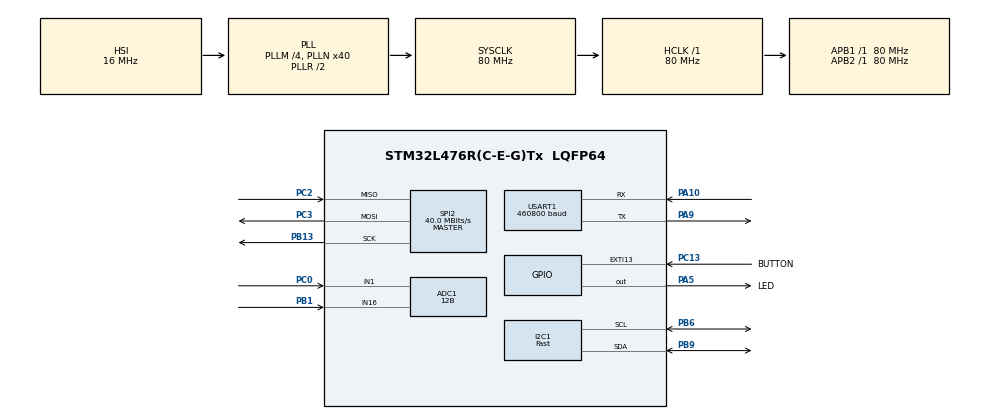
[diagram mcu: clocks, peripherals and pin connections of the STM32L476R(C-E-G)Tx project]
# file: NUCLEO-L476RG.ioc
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ADC1.AutoInjectedConv=DISABLE
ADC1.Channel-25\#ChannelRegularConversion=ADC_CHANNEL_16
ADC1.ClockPrescaler=ADC_CLOCK_ASYNC_DIV1
ADC1.ContinuousConvMode=ENABLE
ADC1.DMAContinuousRequests=DISABLE
ADC1.DataAlign=ADC_DATAALIGN_RIGHT
ADC1.DiscontinuousConvMode=DISABLE
ADC1.EOCSelection=ADC_EOC_SINGLE_CONV
ADC1.EnableAnalogWatchDog1=false
ADC1.EnableAnalogWatchDog2=false
ADC1.EnableAnalogWatchDog3=false
ADC1.EnableInjectedConversion=ENABLE
ADC1.EnableInjectedOversampling=DISABLE
ADC1.EnableRegularConversion=ENABLE
ADC1.ExternalTrigConv=ADC_SOFTWARE_START
ADC1.ExternalTrigConvEdge=ADC_EXTERNALTRIGCONVEDGE_NONE
ADC1.ExternalTrigInjecConv=ADC_INJECTED_SOFTWARE_START
ADC1.ExternalTrigInjecConvEdge=ADC_EXTERNALTRIGINJECCONV_EDGE_NONE
ADC1.InjNumberOfConversion=2
ADC1.InjectedChannel-26\#ChannelInjectedConversion=ADC_CHANNEL_TEMPSENSOR
ADC1.InjectedChannel-27\#ChannelInjectedConversion=ADC_CHANNEL_1
ADC1.InjectedConvMode=None
ADC1.InjectedDiscontinuousConvMode=DISABLE
ADC1.InjectedOffsetNumber-26\#ChannelInjectedConversion=ADC_OFFSET_NONE
ADC1.InjectedOffsetNumber-27\#ChannelInjectedConversion=ADC_OFFSET_NONE
ADC1.InjectedQueue=DISABLE
ADC1.InjectedRank-26\#ChannelInjectedConversion=1
ADC1.InjectedRank-27\#ChannelInjectedConversion=2
ADC1.InjectedSamplingTime-26\#ChannelInjectedConversion=ADC_SAMPLETIME_247CYCLES_5
ADC1.InjectedSamplingTime-27\#ChannelInjectedConversion=ADC_SAMPLETIME_247CYCLES_5
ADC1.InjectedSingleDiff-26\#ChannelInjectedConversion=ADC_SINGLE_ENDED
ADC1.InjectedSingleDiff-27\#ChannelInjectedConversion=ADC_SINGLE_ENDED
ADC1.LowPowerAutoWait=DISABLE
ADC1.NbrOfConversion=1
ADC1.NbrOfConversionFlag=1
ADC1.OffsetNumber-25\#ChannelRegularConversion=ADC_OFFSET_NONE
ADC1.Overrun=ADC_OVR_DATA_OVERWRITTEN
ADC1.OversamplingMode=DISABLE
ADC1.Rank-25\#ChannelRegularConversion=1
ADC1.Resolution=ADC_RESOLUTION_12B
ADC1.SamplingTime-25\#ChannelRegularConversion=ADC_SAMPLETIME_2CYCLES_5
ADC1.ScanConvMode=ADC_SCAN_ENABLE
ADC1.SingleDiff-25\#ChannelRegularConversion=ADC_SINGLE_ENDED
ADC1.master=1
Dma.Request0=USART1_TX
Dma.USART1_TX.0.Direction=DMA_MEMORY_TO_PERIPH
Dma.USART1_TX.0.Instance=DMA1_Channel4
Dma.USART1_TX.0.MemDataAlignment=DMA_MDATAALIGN_BYTE
Dma.USART1_TX.0.MemInc=DMA_MINC_ENABLE
Dma.USART1_TX.0.Mode=DMA_NORMAL
Dma.USART1_TX.0.PeriphDataAlignment=DMA_PDATAALIGN_BYTE
Dma.USART1_TX.0.PeriphInc=DMA_PINC_DISABLE
Dma.USART1_TX.0.Priority=DMA_PRIORITY_LOW
FREERTOS.INCLUDE_vTaskDelayUntil=1
FREERTOS.INCLUDE_xTaskAbortDelay=1
FREERTOS.INCLUDE_xTaskGetCurrentTaskHandle=1
FREERTOS.INCLUDE_xTaskGetHandle=1
FREERTOS.MEMORY_ALLOCATION=2
FREERTOS.Queues01=printQueue,16,void*,NULL,Static,printfQueueBuffer,printfQueueControlBlock
FREERTOS.Tasks01=defaultTask,0,128,StartDefaultTask,Default,NULL,Static,defaultTaskBuffer,defaultTaskControlBlock;cmdTask,3,128,StartCMDTask,Default,NULL,Static,cmdTaskBuffer,cmdTaskControlBlock;mpuTask,2,256,StartMPUTask,Default,NULL,Static,mpuTaskBuffer,mpuTaskControlBlock;adcTask,2,128,StartADCTask,Default,NULL,Static,adcTaskBuffer,adcTaskControlBlock;printfGateKeeperTask,-1,128,StartPrintfGateKeeperTask,Default,NULL,Static,printfGateKeeperTaskBuffer,printfGateKeeperTaskControlBlock
FREERTOS.configGENERATE_RUN_TIME_STATS=0
FREERTOS.configMAX_TASK_NAME_LEN=64
FREERTOS.configTOTAL_HEAP_SIZE=0x8000
FREERTOS.configUSE_ALTERNATIVE_API=0
FREERTOS.configUSE_IDLE_HOOK=1
FREERTOS.configUSE_MUTEXES=0
FREERTOS.configUSE_TICK_HOOK=1
I2C1.I2C_Fall_Time=60
I2C1.I2C_Rise_Time=60
I2C1.I2C_Speed_Mode=I2C_Fast
I2C1.OwnAddress=0
I2C1.OwnAddress2Masks=I2C_OA2_NOMASK
I2C1.Speed=400
I2C1.Timing=0x00C02C84
IWDG.Prescaler=IWDG_PRESCALER_64
Mcu.Family=STM32L4
Mcu.Name=STM32L476R(C-E-G)Tx
Mcu.Package=LQFP64
NVIC.DMA1_Channel4_IRQn=true\:10\:0\:true\:false\:true\:true
NVIC.EXTI15_10_IRQn=true\:14\:0\:true\:false\:true\:true
NVIC.PriorityGroup=NVIC_PRIORITYGROUP_4
NVIC.TIM6_DAC_IRQn=true\:0\:0\:false\:false\:true\:false
NVIC.TimeBase=TIM6_DAC_IRQn
NVIC.TimeBaseIP=TIM6
NVIC.USART1_IRQn=true\:15\:0\:true\:false\:true\:true
PA10.Mode=Asynchronous
PA10.Signal=USART1_RX
PA13.Mode=Serial_Wire
PA13.Signal=SYS_JTMS-SWDIO
PA14.Mode=Serial_Wire
PA14.Signal=SYS_JTCK-SWCLK
PA5.GPIO_Label=LED
PA5.Signal=GPIO_Output
PA9.Mode=Asynchronous
PA9.Signal=USART1_TX
PB1.Signal=ADCx_IN16
PB13.Mode=Full_Duplex_Master
PB13.Signal=SPI2_SCK
PB6.Mode=I2C
PB6.Signal=I2C1_SCL
PB9.Mode=I2C
PB9.Signal=I2C1_SDA
PC0.Signal=ADCx_IN1
PC13.GPIO_Label=BUTTON
PC13.GPIO_PuPd=GPIO_PULLUP
PC13.Signal=GPXTI13
PC14/OSC32_IN.Mode=LSE-External-Oscillator
PC14/OSC32_IN.Signal=RCC_OSC32_IN
PC15/OSC32_OUT.Mode=LSE-External-Oscillator
PC15/OSC32_OUT.Signal=RCC_OSC32_OUT
PC2.Mode=Full_Duplex_Master
PC2.Signal=SPI2_MISO
PC3.Mode=Full_Duplex_Master
PC3.Signal=SPI2_MOSI
ProjectManager.HeapSize=0x200
ProjectManager.StackSize=0x1000
ProjectManager.TargetToolchain=MDK-ARM V5
RCC.ADCFreq_Value=80000000
RCC.AHBCLKDivider=RCC_SYSCLK_DIV1
RCC.AHBFreq_Value=80000000
RCC.APB1CLKDivider=RCC_HCLK_DIV1
RCC.APB1Freq_Value=80000000
RCC.APB1TimFreq_Value=80000000
RCC.APB2CLKDivider=RCC_HCLK_DIV1
RCC.APB2Freq_Value=80000000
RCC.APB2TimFreq_Value=80000000
RCC.ClockTypeHCLK=RCC_CLOCKTYPE_HCLK
RCC.ClockTypePCLK1=RCC_CLOCKTYPE_PCLK1
RCC.ClockTypePCLK2=RCC_CLOCKTYPE_PCLK2
RCC.ClockTypeSysClk=RCC_CLOCKTYPE_SYSCLK
RCC.CortexFreq_Value=80000000
RCC.Cortex_Div=SYSTICK_CLKSOURCE_HCLK
RCC.DATA_CACHE_ENABLE=1
RCC.EnableCSSLSE=false
RCC.EnbaleCSS=false
RCC.FLatency=FLASH_LATENCY_4
RCC.HCLKFreq_Value=80000000
RCC.HSE_VALUE=32000000
RCC.HSI_VALUE=16000000
RCC.INSTRUCTION_CACHE_ENABLE=1
RCC.LSE_Drive_Capability=RCC_LSEDRIVE_LOW
RCC.MSIAutoCalibration=DISABLED
RCC.MSI_VALUE=4000000
RCC.PLLM=4
RCC.PLLN=40
RCC.PLLP=RCC_PLLP_DIV7
RCC.PLLQ=RCC_PLLQ_DIV2
RCC.PLLR=RCC_PLLR_DIV2
RCC.PLLSAI1N=40
RCC.PLLSAI1P=RCC_PLLP_DIV7
RCC.PLLSAI1Q=RCC_PLLQ_DIV2
RCC.PLLSAI1R=RCC_PLLR_DIV2
RCC.PLLSAI2P=RCC_PLLP_DIV7
RCC.PLLSAI2R=RCC_PLLR_DIV2
RCC.PLLSourceVirtual=RCC_PLLSOURCE_HSI
RCC.PREFETCH_ENABLE=1
RCC.PWR_Regulator_Voltage_Scale=PWR_REGULATOR_VOLTAGE_SCALE1
RCC.RCC_MCODiv=RCC_MCODIV_1
RCC.RTCClockSelection=RCC_RTCCLKSOURCE_LSE
RCC.SYSCLKFreq_VALUE=80000000
RCC.SYSCLKSource=RCC_SYSCLKSOURCE_PLLCLK
RCC.USART1CLockSelection=RCC_USART1CLKSOURCE_PCLK2
RCC.USBFreq_Value=80000000
RCC.VCOOutputFreq_Value=160000000
RCC.VDD_VALUE=3.3
RTC.OutPut=RTC_OUTPUT_DISABLE
RTC.OutPutPolarity=RTC_OUTPUT_POLARITY_HIGH
RTC.OutPutType=RTC_OUTPUT_TYPE_OPENDRAIN
SH.ADCx_IN1.0=ADC1_IN1,IN1-Single-Ended
SH.ADCx_IN16.0=ADC1_IN16,IN16-Single-Ended
SPI2.BaudRatePrescaler=SPI_BAUDRATEPRESCALER_2
SPI2.CRCLength=SPI_CRC_LENGTH_DATASIZE
SPI2.CRCPolynomial=7
SPI2.CalculateBaudRate=40.0 MBits/s
SPI2.Direction=SPI_DIRECTION_2LINES
SPI2.Mode=SPI_MODE_MASTER
SPI2.VirtualType=VM_MASTER
SYS.instance=TIM6
USART1.BaudRate=460800
USART1.HwFlowCtl-Asynchronous=UART_HWCONTROL_NONE
USART1.VirtualMode-Asynchronous=VM_ASYNC
USART1.WordLength=WORDLENGTH_8B
VP_ADC1_TempSens_Input.Mode=IN-TempSens
VP_ADC1_Vbat_Input.Mode=IN-Vbat
VP_ADC1_Vref_Input.Mode=IN-Vrefint
VP_FREERTOS_VS_ENABLE.Mode=Enabled
VP_IWDG_VS_IWDG.Mode=IWDG_Activate
VP_RTC_VS_RTC_Activate.Mode=RTC_Enabled
VP_SYS_VS_tim6.Mode=TIM6
board=NUCLEO-L476RG

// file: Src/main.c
/**
  ******************************************************************************
  * File Name          : main.c
  * Description        : Main program body
  ******************************************************************************
  *
  * Copyright (c) 2017 STMicroelectronics International N.V.
  * All rights reserved.
  *
  * Redistribution and use in source and binary forms, with or without
  * modification, are permitted, provided that the following conditions are met:
  *
  * 1. Redistribution of source code must retain the above copyright notice,
  *    this list of conditions and the following disclaimer.
  * 2. Redistributions in binary form must reproduce the above copyright notice,
  *    this list of conditions and the following disclaimer in the documentation
  *    and/or other materials provided with the distribution.
  * 3. Neither the name of STMicroelectronics nor the names of other
  *    contributors to this software may be used to endorse or promote products
  *    derived from this software without specific written permission.
  * 4. This software, including modifications and/or derivative works of this
  *    software, must execute solely and exclusively on microcontroller or
  *    microprocessor devices manufactured by or for STMicroelectronics.
  * 5. Redistribution and use of this software other than as permitted under
  *    this license is void and will automatically terminate your rights under
  *    this license.
  *
  * THIS SOFTWARE IS PROVIDED BY STMICROELECTRONICS AND CONTRIBUTORS "AS IS"
  * AND ANY EXPRESS, IMPLIED OR STATUTORY WARRANTIES, INCLUDING, BUT NOT
  * LIMITED TO, THE IMPLIED WARRANTIES OF MERCHANTABILITY, FITNESS FOR A
  * PARTICULAR PURPOSE AND NON-INFRINGEMENT OF THIRD PARTY INTELLECTUAL PROPERTY
  * RIGHTS ARE DISCLAIMED TO THE FULLEST EXTENT PERMITTED BY LAW. IN NO EVENT
  * SHALL STMICROELECTRONICS OR CONTRIBUTORS BE LIABLE FOR ANY DIRECT, INDIRECT,
  * INCIDENTAL, SPECIAL, EXEMPLARY, OR CONSEQUENTIAL DAMAGES (INCLUDING, BUT NOT
  * LIMITED TO, PROCUREMENT OF SUBSTITUTE GOODS OR SERVICES; LOSS OF USE, DATA,
  * OR PROFITS; OR BUSINESS INTERRUPTION) HOWEVER CAUSED AND ON ANY THEORY OF
  * LIABILITY, WHETHER IN CONTRACT, STRICT LIABILITY, OR TORT (INCLUDING
  * NEGLIGENCE OR OTHERWISE) ARISING IN ANY WAY OUT OF THE USE OF THIS SOFTWARE,
  * EVEN IF ADVISED OF THE POSSIBILITY OF SUCH DAMAGE.
  *
  ******************************************************************************
  */
#include "main.h"
#include "stm32l4xx_hal.h"
#include "cmsis_os.h"
#include "adc.h"
#include "dma.h"
#include "i2c.h"
#include "iwdg.h"
#include "rtc.h"
#include "spi.h"
#include "usart.h"
#include "gpio.h"

/* USER CODE BEGIN PV */
/* Private variables ---------------------------------------------------------*/
SystemMode_TypeDef SystemMode = Output;
/* USER CODE END PV */

void SystemClock_Config(void);
void Error_Handler(void);
void MX_FREERTOS_Init(void);

/* USER CODE BEGIN PFP */
/* Private function prototypes -----------------------------------------------*/

/* USER CODE END PFP */

int main(void)
{

  /* MCU Configuration----------------------------------------------------------*/

  /* Reset of all peripherals, Initializes the Flash interface and the Systick. */
  HAL_Init();

  /* Configure the system clock */
  SystemClock_Config();

  /* Initialize all configured peripherals */
  MX_GPIO_Init();
  MX_DMA_Init();
  MX_ADC1_Init();
  MX_I2C1_Init();
  MX_IWDG_Init();
  MX_RTC_Init();
  MX_SPI2_Init();
  MX_USART1_UART_Init();

  /* USER CODE BEGIN 2 */
  __HAL_UART_DISABLE_IT(&huart1, UART_IT_RXNE);
  printf("\r\n\r\n");
  /* USER CODE END 2 */

  /* Call init function for freertos objects (in freertos.c) */
  MX_FREERTOS_Init();

  /* Start scheduler */
  osKernelStart();

  /* We should never get here as control is now taken by the scheduler */

  /* Infinite loop */
  while (1)
  {

  }

}

/** System Clock Configuration
*/
void SystemClock_Config(void)
{

  RCC_OscInitTypeDef RCC_OscInitStruct;
  RCC_ClkInitTypeDef RCC_ClkInitStruct;
  RCC_PeriphCLKInitTypeDef PeriphClkInit;

    /**Initializes the CPU, AHB and APB busses clocks
    */
  RCC_OscInitStruct.OscillatorType = RCC_OSCILLATORTYPE_HSI|RCC_OSCILLATORTYPE_LSI
                              |RCC_OSCILLATORTYPE_LSE;
  RCC_OscInitStruct.LSEState = RCC_LSE_ON;
  RCC_OscInitStruct.HSIState = RCC_HSI_ON;
  RCC_OscInitStruct.HSICalibrationValue = 16;
  RCC_OscInitStruct.LSIState = RCC_LSI_ON;
  RCC_OscInitStruct.PLL.PLLState = RCC_PLL_ON;
  RCC_OscInitStruct.PLL.PLLSource = RCC_PLLSOURCE_HSI;
  RCC_OscInitStruct.PLL.PLLM = 4;
  RCC_OscInitStruct.PLL.PLLN = 40;
  RCC_OscInitStruct.PLL.PLLP = RCC_PLLP_DIV7;
  RCC_OscInitStruct.PLL.PLLQ = RCC_PLLQ_DIV2;
  RCC_OscInitStruct.PLL.PLLR = RCC_PLLR_DIV2;
  if (HAL_RCC_OscConfig(&RCC_OscInitStruct) != HAL_OK)
  {
    Error_Handler();
  }

    /**Initializes the CPU, AHB and APB busses clocks
    */
  RCC_ClkInitStruct.ClockType = RCC_CLOCKTYPE_HCLK|RCC_CLOCKTYPE_SYSCLK
                              |RCC_CLOCKTYPE_PCLK1|RCC_CLOCKTYPE_PCLK2;
  RCC_ClkInitStruct.SYSCLKSource = RCC_SYSCLKSOURCE_PLLCLK;
  RCC_ClkInitStruct.AHBCLKDivider = RCC_SYSCLK_DIV1;
  RCC_ClkInitStruct.APB1CLKDivider = RCC_HCLK_DIV1;
  RCC_ClkInitStruct.APB2CLKDivider = RCC_HCLK_DIV1;

  if (HAL_RCC_ClockConfig(&RCC_ClkInitStruct, FLASH_LATENCY_4) != HAL_OK)
  {
    Error_Handler();
  }

  PeriphClkInit.PeriphClockSelection = RCC_PERIPHCLK_RTC|RCC_PERIPHCLK_USART1
                              |RCC_PERIPHCLK_I2C1|RCC_PERIPHCLK_ADC;
  PeriphClkInit.Usart1ClockSelection = RCC_USART1CLKSOURCE_PCLK2;
  PeriphClkInit.I2c1ClockSelection = RCC_I2C1CLKSOURCE_PCLK1;
  PeriphClkInit.AdcClockSelection = RCC_ADCCLKSOURCE_PLLSAI1;
  PeriphClkInit.RTCClockSelection = RCC_RTCCLKSOURCE_LSE;
  PeriphClkInit.PLLSAI1.PLLSAI1Source = RCC_PLLSOURCE_HSI;
  PeriphClkInit.PLLSAI1.PLLSAI1M = 4;
  PeriphClkInit.PLLSAI1.PLLSAI1N = 40;
  PeriphClkInit.PLLSAI1.PLLSAI1P = RCC_PLLP_DIV7;
  PeriphClkInit.PLLSAI1.PLLSAI1Q = RCC_PLLQ_DIV2;
  PeriphClkInit.PLLSAI1.PLLSAI1R = RCC_PLLR_DIV2;
  PeriphClkInit.PLLSAI1.PLLSAI1ClockOut = RCC_PLLSAI1_ADC1CLK;
  if (HAL_RCCEx_PeriphCLKConfig(&PeriphClkInit) != HAL_OK)
  {
    Error_Handler();
  }

    /**Configure LSE Drive Capability
    */
  __HAL_RCC_LSEDRIVE_CONFIG(RCC_LSEDRIVE_LOW);

    /**Configure the main internal regulator output voltage
    */
  if (HAL_PWREx_ControlVoltageScaling(PWR_REGULATOR_VOLTAGE_SCALE1) != HAL_OK)
  {
    Error_Handler();
  }

    /**Configure the Systick interrupt time
    */
  HAL_SYSTICK_Config(HAL_RCC_GetHCLKFreq()/1000);

    /**Configure the Systick
    */
  HAL_SYSTICK_CLKSourceConfig(SYSTICK_CLKSOURCE_HCLK);

  /* SysTick_IRQn interrupt configuration */
  HAL_NVIC_SetPriority(SysTick_IRQn, 15, 0);
}

void HAL_TIM_PeriodElapsedCallback(TIM_HandleTypeDef *htim)
{
  if (htim->Instance == TIM6) {
    HAL_IncTick();
  }
}

void Error_Handler(void)
{
  while(1)
  {
  }
}

/************************ (C) COPYRIGHT STMicroelectronics *****END OF FILE****/

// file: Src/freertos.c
/**
  ******************************************************************************
  * File Name          : freertos.c
  * Description        : Code for freertos applications
  ******************************************************************************
  *
  * Copyright (c) 2017 STMicroelectronics International N.V.
  * All rights reserved.
  *
  * Redistribution and use in source and binary forms, with or without
  * modification, are permitted, provided that the following conditions are met:
  *
  * 1. Redistribution of source code must retain the above copyright notice,
  *    this list of conditions and the following disclaimer.
  * 2. Redistributions in binary form must reproduce the above copyright notice,
  *    this list of conditions and the following disclaimer in the documentation
  *    and/or other materials provided with the distribution.
  * 3. Neither the name of STMicroelectronics nor the names of other
  *    contributors to this software may be used to endorse or promote products
  *    derived from this software without specific written permission.
  * 4. This software, including modifications and/or derivative works of this
  *    software, must execute solely and exclusively on microcontroller or
  *    microprocessor devices manufactured by or for STMicroelectronics.
  * 5. Redistribution and use of this software other than as permitted under
  *    this license is void and will automatically terminate your rights under
  *    this license.
  *
  * THIS SOFTWARE IS PROVIDED BY STMICROELECTRONICS AND CONTRIBUTORS "AS IS"
  * AND ANY EXPRESS, IMPLIED OR STATUTORY WARRANTIES, INCLUDING, BUT NOT
  * LIMITED TO, THE IMPLIED WARRANTIES OF MERCHANTABILITY, FITNESS FOR A
  * PARTICULAR PURPOSE AND NON-INFRINGEMENT OF THIRD PARTY INTELLECTUAL PROPERTY
  * RIGHTS ARE DISCLAIMED TO THE FULLEST EXTENT PERMITTED BY LAW. IN NO EVENT
  * SHALL STMICROELECTRONICS OR CONTRIBUTORS BE LIABLE FOR ANY DIRECT, INDIRECT,
  * INCIDENTAL, SPECIAL, EXEMPLARY, OR CONSEQUENTIAL DAMAGES (INCLUDING, BUT NOT
  * LIMITED TO, PROCUREMENT OF SUBSTITUTE GOODS OR SERVICES; LOSS OF USE, DATA,
  * OR PROFITS; OR BUSINESS INTERRUPTION) HOWEVER CAUSED AND ON ANY THEORY OF
  * LIABILITY, WHETHER IN CONTRACT, STRICT LIABILITY, OR TORT (INCLUDING
  * NEGLIGENCE OR OTHERWISE) ARISING IN ANY WAY OUT OF THE USE OF THIS SOFTWARE,
  * EVEN IF ADVISED OF THE POSSIBILITY OF SUCH DAMAGE.
  *
  ******************************************************************************
  */

#include "FreeRTOS.h"
#include "task.h"
#include "cmsis_os.h"

/* USER CODE BEGIN Includes */
#include "main.h"
#include "stm32l4xx_hal.h"
#include "user.h"
#include "i2c.h"
#include "mpu9250.h"
#include "adc.h"
#include "usart.h"
#include "cmdline.h"
#include "cpu_utils.h"
#include "iwdg.h"
#include "rtc.h"

#define PRINT(string, ...)                                                          \
  do                                                                                \
  {                                                                                 \
    Packet_TypeDef *packet = (Packet_TypeDef *)osPoolAlloc(packetPoolHandle);       \
    if (packet != NULL)                                                             \
    {                                                                               \
      packet->size = sprintf(packet->pString, ( string ), ##__VA_ARGS__);           \
      if (packet->size <= 0 ||                                                      \
          osMessagePut(printQueueHandle, (uint32_t)packet, osWaitForever) != osOK)  \
      {                                                                             \
        osPoolFree(packetPoolHandle, (void *)packet);                               \
      }                                                                             \
    }                                                                               \
  } while (0)
/* USER CODE END Includes */

osThreadId defaultTaskHandle;
uint32_t defaultTaskBuffer[ 128 ];
osStaticThreadDef_t defaultTaskControlBlock;
osThreadId cmdTaskHandle;
uint32_t cmdTaskBuffer[ 128 ];
osStaticThreadDef_t cmdTaskControlBlock;
osThreadId mpuTaskHandle;
uint32_t mpuTaskBuffer[ 256 ];
osStaticThreadDef_t mpuTaskControlBlock;
osThreadId adcTaskHandle;
uint32_t adcTaskBuffer[ 128 ];
osStaticThreadDef_t adcTaskControlBlock;
osThreadId printfGateKeeperTaskHandle;
uint32_t printfGateKeeperTaskBuffer[ 128 ];
osStaticThreadDef_t printfGateKeeperTaskControlBlock;
osMessageQId printQueueHandle;
uint8_t printfQueueBuffer[ 16 * sizeof( void* ) ];
osStaticMessageQDef_t printfQueueControlBlock;

/* USER CODE BEGIN Variables */
__align(4) uint8_t ucHeap[configTOTAL_HEAP_SIZE] __attribute__((at(0x10000000)));

osPoolId packetPoolHandle;

OutputCtrl_TypeDef Usage_Output;
OutputCtrl_TypeDef Euler_Output;
OutputCtrl_TypeDef MpuTemp_Output;
OutputCtrl_TypeDef ADC_Output;
OutputCtrl_TypeDef Temp_Output;
OutputCtrl_TypeDef Time_Output;
/* USER CODE END Variables */

void StartDefaultTask(void const * argument);
void StartCMDTask(void const * argument);
void StartMPUTask(void const * argument);
void StartADCTask(void const * argument);
void StartPrintfGateKeeperTask(void const * argument);

void MX_FREERTOS_Init(void); /* (MISRA C 2004 rule 8.1) */

/* GetIdleTaskMemory prototype (linked to static allocation support) */
void vApplicationGetIdleTaskMemory( StaticTask_t **ppxIdleTaskTCBBuffer, StackType_t **ppxIdleTaskStackBuffer, uint32_t *pulIdleTaskStackSize );

/* Hook prototypes */
void vApplicationIdleHook(void);
void vApplicationTickHook(void);

/* USER CODE BEGIN 2 */
__weak void vApplicationIdleHook( void )
{
   /* vApplicationIdleHook() will only be called if configUSE_IDLE_HOOK is set
   to 1 in FreeRTOSConfig.h. It will be called on each iteration of the idle
   task. It is essential that code added to this hook function never attempts
   to block in any way (for example, call xQueueReceive() with a block time
   specified, or call vTaskDelay()). If the application makes use of the
   vTaskDelete() API function (as this demo application does) then it is also
   important that vApplicationIdleHook() is permitted to return to its calling
   function, because it is the responsibility of the idle task to clean up
   memory allocated by the kernel to any task that has since been deleted. */
}
/* USER CODE END 2 */

/* USER CODE BEGIN 3 */
__weak void vApplicationTickHook( void )
{
   /* This function will be called by each tick interrupt if
   configUSE_TICK_HOOK is set to 1 in FreeRTOSConfig.h. User code can be
   added here, but the tick hook is called from an interrupt context, so
   code must not attempt to block, and only the interrupt safe FreeRTOS API
   functions can be used (those that end in FromISR()). */
}
/* USER CODE END 3 */

/* USER CODE BEGIN GET_IDLE_TASK_MEMORY */
static StaticTask_t xIdleTaskTCBBuffer;
static StackType_t xIdleStack[configMINIMAL_STACK_SIZE];

void vApplicationGetIdleTaskMemory( StaticTask_t **ppxIdleTaskTCBBuffer, StackType_t **ppxIdleTaskStackBuffer, uint32_t *pulIdleTaskStackSize )
{
  *ppxIdleTaskTCBBuffer = &xIdleTaskTCBBuffer;
  *ppxIdleTaskStackBuffer = &xIdleStack[0];
  *pulIdleTaskStackSize = configMINIMAL_STACK_SIZE;
  /* place for user code */
}
/* USER CODE END GET_IDLE_TASK_MEMORY */

/* Init FreeRTOS */

void MX_FREERTOS_Init(void) {
  /* USER CODE BEGIN Init */
  Usage_Output = Off;
  Euler_Output = Off;
  MpuTemp_Output = Off;
  ADC_Output = Off;
  Temp_Output = Off;
  Time_Output = Off;
  /* USER CODE END Init */

  /* Create the thread(s) */
  /* definition and creation of defaultTask */
  osThreadStaticDef(defaultTask, StartDefaultTask, osPriorityNormal, 0, 128, defaultTaskBuffer, &defaultTaskControlBlock);
  defaultTaskHandle = osThreadCreate(osThread(defaultTask), NULL);

  /* definition and creation of cmdTask */
  osThreadStaticDef(cmdTask, StartCMDTask, osPriorityRealtime, 0, 128, cmdTaskBuffer, &cmdTaskControlBlock);
  cmdTaskHandle = osThreadCreate(osThread(cmdTask), NULL);

  /* definition and creation of mpuTask */
  osThreadStaticDef(mpuTask, StartMPUTask, osPriorityHigh, 0, 256, mpuTaskBuffer, &mpuTaskControlBlock);
  mpuTaskHandle = osThreadCreate(osThread(mpuTask), NULL);

  /* definition and creation of adcTask */
  osThreadStaticDef(adcTask, StartADCTask, osPriorityHigh, 0, 128, adcTaskBuffer, &adcTaskControlBlock);
  adcTaskHandle = osThreadCreate(osThread(adcTask), NULL);

  /* definition and creation of printfGateKeeperTask */
  osThreadStaticDef(printfGateKeeperTask, StartPrintfGateKeeperTask, osPriorityBelowNormal, 0, 128, printfGateKeeperTaskBuffer, &printfGateKeeperTaskControlBlock);
  printfGateKeeperTaskHandle = osThreadCreate(osThread(printfGateKeeperTask), NULL);

  /* Create the queue(s) */
  /* definition and creation of printQueue */
  osMessageQStaticDef(printQueue, 16, void*, printfQueueBuffer, &printfQueueControlBlock);
  printQueueHandle = osMessageCreate(osMessageQ(printQueue), NULL);

  /* USER CODE BEGIN RTOS_QUEUES */
  /* add queues, ... */

  osPoolDef(PacketPool, 16, Packet_TypeDef);
  packetPoolHandle = osPoolCreate(osPool(PacketPool));
  if (packetPoolHandle == NULL)
  {
    Error_Handler();
  }
  /* USER CODE END RTOS_QUEUES */
}

/* StartDefaultTask function */
void StartDefaultTask(void const * argument)
{

  /* USER CODE BEGIN StartDefaultTask */

  while (HAL_RTC_WaitForSynchro(&hrtc) != HAL_OK)
  {

  }

  PRINT("#CMD [%d] System initialization complete ......\r\n", HAL_GetTick());

  /* Infinite loop */
  for(;;)
  {
    HAL_IWDG_Refresh(&hiwdg);
    HAL_GPIO_TogglePin(LED_GPIO_Port, LED_Pin);

    if (SystemMode == Command)
    {
      if (Usage_Output == On)
      {
        PRINT("#CMD [%d] CPU: %d%% Heap: %d Bytes PrintQueue: %d\r\n", HAL_GetTick(),
              osGetCPUUsage(), xPortGetFreeHeapSize(), osMessageAvailableSpace(printQueueHandle));
      }
      else if (Time_Output == On)
      {
        HAL_RTC_GetTime(&hrtc, &RTC_Time, RTC_FORMAT_BIN);
        HAL_RTC_GetDate(&hrtc, &RTC_Date, RTC_FORMAT_BIN);

        PRINT("#CMD %04d-%02d-%02d %02d:%02d:%02d.%03d\r\n",
              2000 + RTC_Date.Year, RTC_Date.Month, RTC_Date.Date, RTC_Time.Hours, RTC_Time.Minutes, RTC_Time.Seconds, RTC_Time.SubSeconds);
      }
    }

    osDelay(500);
  }
  /* USER CODE END StartDefaultTask */
}

/* StartCMDTask function */
void StartCMDTask(void const * argument)
{
  /* USER CODE BEGIN StartCMDTask */
  Packet_TypeDef *packet;

  while (HAL_UART_Receive_IT(&huart1, &USART1_Buffer, 1) != HAL_OK)
  {
    osDelay(1);
  }

  __HAL_UART_DISABLE_IT(&huart1, UART_IT_RXNE);

  PRINT("#CMD [%d] Cmd initialization complete ......\r\n", HAL_GetTick());

  /* Infinite loop */
  for(;;)
  {
    ulTaskNotifyTake(pdTRUE, portMAX_DELAY);

    packet = (Packet_TypeDef *)osPoolAlloc(packetPoolHandle);
    if (packet != NULL)
    {
      CMD_Process(USART1_Buffer, packet->pString, &packet->size);
      if (packet->size <= 0 || osMessagePut(printQueueHandle, (uint32_t)packet, osWaitForever) != osOK)
      {
        osPoolFree(packetPoolHandle, (void *)packet);
      }
    }

    while (HAL_UART_Receive_IT(&huart1, &USART1_Buffer, 1) != HAL_OK)
    {
      osDelay(1);
    }
  }
  /* USER CODE END StartCMDTask */
}

/* StartMPUTask function */
void StartMPUTask(void const * argument)
{
  /* USER CODE BEGIN StartMPUTask */
  short gyro[3];
  short accel[3];
  short compass[3];
  long temp;
  long quat[4];
  double euler[3];
  unsigned long timestamp;
  MPU_ErrorTypeDef mpuState;
  int mpuErrorTime = 0;
  uint32_t time = osKernelSysTick();

  do
  {
    taskENTER_CRITICAL();
    mpuState = MPU_Init(&hi2c1);
    taskEXIT_CRITICAL();
  } while (mpuState != MPU_OK);

  PRINT("#CMD [%d] MPU initialization complete ......\r\n", HAL_GetTick());

  osDelay(1);

  /* Infinite loop */
  for(;;)
  {
    taskENTER_CRITICAL();
    mpuState = MPU_GetData(gyro, accel, compass, &temp, quat, euler, &timestamp);
    taskEXIT_CRITICAL();

    if (mpuState == MPU_OK)
    {
      mpuErrorTime = 0;

      if (SystemMode == Output)
      {
        taskENTER_CRITICAL();
        PRINT("#DATA_MPU [%d] %6d %6d %6d %6d %6d %6d %6d %6d %6d\r\n", HAL_GetTick(), accel[0], accel[1], accel[2], gyro[0], gyro[1], gyro[2], compass[0], compass[1], compass[2]);
        taskEXIT_CRITICAL();
      }
      else if (SystemMode == Command)
      {
        if (Euler_Output == On)
        {
          PRINT("#CMD Pitch:\t%5.2lf\tRoll:\t%5.2lf\tYaw:\t%5.2lf\r\n", euler[0], euler[1], euler[2]);
        }
        else if (MpuTemp_Output == On)
        {
          PRINT("#CMD %6.1lf°C\r\n", (double)temp / 100000.0);
          osDelayUntil(&time, 490);
        }
      }
    }
    else
    {
      mpuErrorTime++;

      if (mpuErrorTime > 10)
      {
        HAL_I2C_DeInit(&hi2c1);
        MX_I2C1_Init();
      }

      if (mpuErrorTime > 100)
      {
        do
        {
          taskENTER_CRITICAL();
          mpuState = MPU_Init(&hi2c1);
          taskEXIT_CRITICAL();
        } while (mpuState != MPU_OK);

        mpuErrorTime = 0;
      }
    }

    osDelayUntil(&time, 10);
  }
  /* USER CODE END StartMPUTask */
}

/* StartADCTask function */
void StartADCTask(void const * argument)
{
  /* USER CODE BEGIN StartADCTask */
  uint32_t time = osKernelSysTick();
  int adc_data;

  while (HAL_ADCEx_Calibration_Start(&hadc1, ADC_SINGLE_ENDED) != HAL_OK)
  {

  }
  while (HAL_ADC_Start(&hadc1) != HAL_OK)
  {

  }

  PRINT("#CMD [%d] ADC initialization complete ......\r\n", HAL_GetTick());

  osDelay(1);

  /* Infinite loop */
  for (;;)
  {
    taskENTER_CRITICAL();
    HAL_ADC_PollForConversion(&hadc1, HAL_MAX_DELAY);
    adc_data = HAL_ADC_GetValue(&hadc1);
    taskEXIT_CRITICAL();

    if (SystemMode == Output)
    {
      taskENTER_CRITICAL();
      PRINT("#DATA_ADC [%d] %4d\r\n", HAL_GetTick(), adc_data);
      taskEXIT_CRITICAL();
    }
    else if (SystemMode == Command)
    {
      if (ADC_Output == On)
      {
        PRINT("#CMD %4d\r\n", adc_data);
      }
      else if (Temp_Output == On)
      {
        while (HAL_ADCEx_RegularStop(&hadc1) != HAL_OK)
        {

        }

        if (HAL_ADCEx_InjectedStart(&hadc1) == HAL_OK)
        {
          taskENTER_CRITICAL();
          HAL_ADCEx_InjectedPollForConversion(&hadc1, HAL_MAX_DELAY);
          adc_data = HAL_ADCEx_InjectedGetValue(&hadc1, ADC_INJECTED_RANK_1);
          taskEXIT_CRITICAL();

          while (HAL_ADCEx_InjectedStop(&hadc1) != HAL_OK)
          {

          }

          //const uint16_t ta_cal1 = *((uint16_t*)0x1FFF75A8);
          //const uint16_t ta_cal2 = *((uint16_t*)0x1FFF75CA);
          PRINT("#CMD %4.0lf°C\r\n", 0.3053 * (((double)adc_data * 1.1) - (double)1037) + 30);

          osDelayUntil(&time, 490);
        }
        else
        {
          PRINT("#CMD Injected ADC start failed ......\r\n");
        }

        while (HAL_ADC_Start(&hadc1) != HAL_OK)
        {

        }
      }
    }

    osDelayUntil(&time, 10);
  }
  /* USER CODE END StartADCTask */
}

/* StartPrintfGateKeeperTask function */
void StartPrintfGateKeeperTask(void const * argument)
{
  /* USER CODE BEGIN StartPrintfGateKeeperTask */
  osEvent message;
  Packet_TypeDef *packet;

  /* Infinite loop */
  for(;;)
  {
    message = osMessageGet(printQueueHandle, osWaitForever);
    if (message.status == osEventMessage)
    {
      packet = (Packet_TypeDef *)message.value.v;

      //      while (HAL_UART_Transmit(&huart1, (uint8_t *)packet->pString, packet->size, 1000) != HAL_OK)
      //      {
      //        osDelay(1);
      //      }

      if (HAL_UART_Transmit_DMA(&huart1, (uint8_t *)packet->pString, packet->size) == HAL_OK)
      {
        // Wait for DMA transmit complete.
        ulTaskNotifyTake(pdTRUE, portMAX_DELAY);
      }

      osPoolFree(packetPoolHandle, (void *)message.value.v);
    }
  }
  /* USER CODE END StartPrintfGateKeeperTask */
}

/************************ (C) COPYRIGHT STMicroelectronics *****END OF FILE****/
